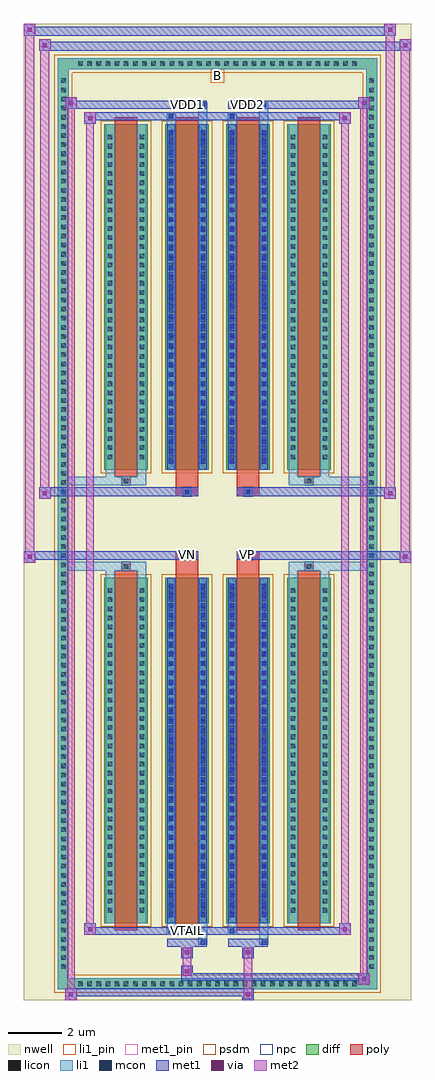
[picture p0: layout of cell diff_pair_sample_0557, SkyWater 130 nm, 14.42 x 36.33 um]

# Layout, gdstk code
import gdstk
lib = gdstk.Library(unit=1e-6, precision=5e-09)
def R(c, l, rs):  # rectangles x0, y0, x1, y1
    for r in rs: c.add(gdstk.rectangle(r[:2], r[2:], *l))
def A(c, l, x, y, w, h, nx, ny, dx, dy):  # array of equal rectangles
    R(c, l, [(x+i*dx, y+j*dy, x+i*dx+w, y+j*dy+h) for i in range(nx) for j in range(ny)])
def P(c, l, *ps):  # polygons
    for p in ps: c.add(gdstk.Polygon(p, *l))
nwell = (64, 20)
diff = (65, 20)
poly = (66, 20)
licon = (66, 44)
li1_pin = (67, 16)
li1 = (67, 20)
mcon = (67, 44)
met1_pin = (68, 16)
met1 = (68, 20)
via = (68, 44)
met2 = (69, 20)
psdm = (94, 20)
npc = (95, 20)

diff_pair_sample_0557 = lib.new_cell('diff_pair_sample_0557')
R(diff_pair_sample_0557, nwell, [(-7.21,-17.73,7.21,18.6), (-4.53,-15.92,-0.01,-0.82), (0.01,-15.92,4.53,-0.82), (-4.53,0.82,-0.01,15.92), (0.01,0.82,4.53,15.92)])
A(diff_pair_sample_0557, diff, -5.305, -17.33, 0.41, 0.41, 31, 2, 0.34, 34.25)
A(diff_pair_sample_0557, diff, -5.94, -16.695, 0.41, 0.41, 1, 98, 0, 0.34)
A(diff_pair_sample_0557, diff, 5.53, -16.695, 0.41, 0.41, 1, 98, 0, 0.34)
A(diff_pair_sample_0557, diff, -4.22, -14.875, 1.63, 12.87, 4, 2, 2.27, 16.88)
R(diff_pair_sample_0557, diff, [(-5.305,-17.33,5.305,-16.92), (-5.94,-16.695,-5.53,16.695), (5.53,-16.695,5.94,16.695), (-5.305,16.92,5.305,17.33)])
P(diff_pair_sample_0557, diff, [(5.94,17.33),(-5.94,17.33),(-5.94,-16.92),(-5.53,-16.92),(-5.53,16.92),(5.53,16.92),(5.53,-16.92),(-5.53,-16.92),(-5.94,-16.92),(-5.94,-17.33),(5.94,-17.33)])
A(diff_pair_sample_0557, poly, -3.83, -15.125, 0.85, 13.37, 4, 2, 2.27, 16.88)
R(diff_pair_sample_0557, poly, [(-3.57,-1.755,-3.24,-1.425), (-3.57,-1.755,-3.24,-1.425), (-1.56,-1.755,-0.71,-1.35), (0.71,-1.755,1.56,-1.35), (3.24,-1.755,3.57,-1.425), (3.24,-1.755,3.57,-1.425), (-1.56,-1.35,-0.71,-1.02), (-1.3,-1.35,-0.97,-1.02), (0.71,-1.35,1.56,-1.02), (0.97,-1.35,1.3,-1.02), (-1.56,1.02,-0.71,1.35), (-1.3,1.02,-0.97,1.35), (0.71,1.02,1.56,1.35), (0.97,1.02,1.3,1.35), (-1.56,1.35,-0.71,1.755), (0.71,1.35,1.56,1.755), (-3.57,1.425,-3.24,1.755), (-3.57,1.425,-3.24,1.755), (3.24,1.425,3.57,1.755), (3.24,1.425,3.57,1.755)])
A(diff_pair_sample_0557, licon, -5.185, -17.21, 0.17, 0.17, 31, 2, 0.34, 34.25)
A(diff_pair_sample_0557, licon, -5.82, -16.575, 0.17, 0.17, 1, 98, 0, 0.34)
A(diff_pair_sample_0557, licon, 5.65, -16.575, 0.17, 0.17, 1, 98, 0, 0.34)
A(diff_pair_sample_0557, licon, -4.08, -14.475, 0.17, 0.17, 1, 36, 0, 0.34)
A(diff_pair_sample_0557, licon, -2.9, -14.475, 0.17, 0.17, 1, 36, 0, 0.34)
A(diff_pair_sample_0557, licon, -1.81, -14.475, 0.17, 0.17, 1, 36, 0, 0.34)
A(diff_pair_sample_0557, licon, -0.63, -14.475, 0.17, 0.17, 1, 36, 0, 0.34)
A(diff_pair_sample_0557, licon, 0.46, -14.475, 0.17, 0.17, 1, 36, 0, 0.34)
A(diff_pair_sample_0557, licon, 1.64, -14.475, 0.17, 0.17, 1, 36, 0, 0.34)
A(diff_pair_sample_0557, licon, 2.73, -14.475, 0.17, 0.17, 1, 36, 0, 0.34)
A(diff_pair_sample_0557, licon, 3.91, -14.475, 0.17, 0.17, 1, 36, 0, 0.34)
A(diff_pair_sample_0557, licon, -4.08, 2.405, 0.17, 0.17, 1, 36, 0, 0.34)
A(diff_pair_sample_0557, licon, -2.9, 2.405, 0.17, 0.17, 1, 36, 0, 0.34)
A(diff_pair_sample_0557, licon, -1.81, 2.405, 0.17, 0.17, 1, 36, 0, 0.34)
A(diff_pair_sample_0557, licon, -0.63, 2.405, 0.17, 0.17, 1, 36, 0, 0.34)
A(diff_pair_sample_0557, licon, 0.46, 2.405, 0.17, 0.17, 1, 36, 0, 0.34)
A(diff_pair_sample_0557, licon, 1.64, 2.405, 0.17, 0.17, 1, 36, 0, 0.34)
A(diff_pair_sample_0557, licon, 2.73, 2.405, 0.17, 0.17, 1, 36, 0, 0.34)
A(diff_pair_sample_0557, licon, 3.91, 2.405, 0.17, 0.17, 1, 36, 0, 0.34)
R(diff_pair_sample_0557, licon, [(-3.49,-1.675,-3.32,-1.505), (3.32,-1.675,3.49,-1.505), (-1.22,-1.27,-1.05,-1.1), (1.05,-1.27,1.22,-1.1), (-1.22,1.1,-1.05,1.27), (1.05,1.1,1.22,1.27), (-3.49,1.505,-3.32,1.675), (3.32,1.505,3.49,1.675)])
R(diff_pair_sample_0557, li1_pin, [(-0.25,16.42,0.25,16.92)])
A(diff_pair_sample_0557, li1, -5.265, -17.29, 0.33, 0.33, 31, 2, 0.34, 34.25)
A(diff_pair_sample_0557, li1, -5.9, -16.655, 0.33, 0.33, 1, 98, 0, 0.34)
A(diff_pair_sample_0557, li1, 5.57, -16.655, 0.33, 0.33, 1, 98, 0, 0.34)
A(diff_pair_sample_0557, li1, -1.81, -14.645, 0.17, 0.17, 1, 35, 0, 0.36)
A(diff_pair_sample_0557, li1, -0.63, -14.645, 0.17, 0.17, 1, 35, 0, 0.36)
A(diff_pair_sample_0557, li1, 0.46, -14.645, 0.17, 0.17, 1, 35, 0, 0.36)
A(diff_pair_sample_0557, li1, 1.64, -14.645, 0.17, 0.17, 1, 35, 0, 0.36)
A(diff_pair_sample_0557, li1, -4.16, -14.555, 0.33, 0.33, 1, 36, 0, 0.34)
A(diff_pair_sample_0557, li1, -2.98, -14.555, 0.33, 0.33, 1, 36, 0, 0.34)
A(diff_pair_sample_0557, li1, -1.89, -14.555, 0.33, 0.33, 1, 36, 0, 0.34)
A(diff_pair_sample_0557, li1, -0.71, -14.555, 0.33, 0.33, 1, 36, 0, 0.34)
A(diff_pair_sample_0557, li1, 0.38, -14.555, 0.33, 0.33, 1, 36, 0, 0.34)
A(diff_pair_sample_0557, li1, 1.56, -14.555, 0.33, 0.33, 1, 36, 0, 0.34)
A(diff_pair_sample_0557, li1, 2.65, -14.555, 0.33, 0.33, 1, 36, 0, 0.34)
A(diff_pair_sample_0557, li1, 3.83, -14.555, 0.33, 0.33, 1, 36, 0, 0.34)
A(diff_pair_sample_0557, li1, -1.81, 2.235, 0.17, 0.17, 1, 35, 0, 0.36)
A(diff_pair_sample_0557, li1, -0.63, 2.235, 0.17, 0.17, 1, 35, 0, 0.36)
A(diff_pair_sample_0557, li1, 0.46, 2.235, 0.17, 0.17, 1, 35, 0, 0.36)
A(diff_pair_sample_0557, li1, 1.64, 2.235, 0.17, 0.17, 1, 35, 0, 0.36)
A(diff_pair_sample_0557, li1, -4.16, 2.325, 0.33, 0.33, 1, 36, 0, 0.34)
A(diff_pair_sample_0557, li1, -2.98, 2.325, 0.33, 0.33, 1, 36, 0, 0.34)
A(diff_pair_sample_0557, li1, -1.89, 2.325, 0.33, 0.33, 1, 36, 0, 0.34)
A(diff_pair_sample_0557, li1, -0.71, 2.325, 0.33, 0.33, 1, 36, 0, 0.34)
A(diff_pair_sample_0557, li1, 0.38, 2.325, 0.33, 0.33, 1, 36, 0, 0.34)
A(diff_pair_sample_0557, li1, 1.56, 2.325, 0.33, 0.33, 1, 36, 0, 0.34)
A(diff_pair_sample_0557, li1, 2.65, 2.325, 0.33, 0.33, 1, 36, 0, 0.34)
A(diff_pair_sample_0557, li1, 3.83, 2.325, 0.33, 0.33, 1, 36, 0, 0.34)
R(diff_pair_sample_0557, li1, [(-5.94,-17.33,-5.53,-16.92), (-5.94,-17.33,-5.53,-16.92), (-5.53,-17.33,5.53,-16.92), (5.53,-17.33,5.94,-16.92), (5.53,-17.33,5.94,-16.92), (-5.94,-16.92,-5.53,16.92), (5.53,-16.92,5.94,16.92), (-0.71,-15.68,-0.38,-14.875), (-0.63,-15.68,-0.46,-15.51), (1.56,-15.68,1.89,-14.875), (1.64,-15.68,1.81,-15.51), (-1.89,-15.25,-1.56,-14.875), (-1.81,-15.25,-1.64,-15.08), (0.38,-15.25,0.71,-14.875), (0.46,-15.25,0.63,-15.08), (-4.16,-14.875,-3.83,-2.005), (-2.98,-14.875,-2.65,-2.005), (-1.89,-14.875,-1.56,-2.005), (-0.71,-14.875,-0.38,-2.005), (0.38,-14.875,0.71,-2.005), (1.56,-14.875,1.89,-2.005), (2.65,-14.875,2.98,-2.005), (3.83,-14.875,4.16,-2.005), (-1.81,-14.645,-1.64,-2.235), (-0.63,-14.645,-0.46,-2.235), (0.46,-14.645,0.63,-2.235), (1.64,-14.645,1.81,-2.235), (-4.16,-2.005,-3.83,-1.425), (-2.98,-2.005,-2.65,-1.425), (2.65,-2.005,2.98,-1.425), (3.83,-2.005,4.16,-1.425), (-5.94,-1.755,-3.57,-1.425), (-4.16,-1.755,-3.57,-1.425), (-3.57,-1.755,-3.24,-1.425), (-3.24,-1.755,-2.65,-1.425), (2.65,-1.755,3.24,-1.425), (3.24,-1.755,3.57,-1.425), (3.24,-1.755,5.94,-1.425), (3.57,-1.755,4.16,-1.425), (-1.3,-1.35,-0.97,-1.02), (0.97,-1.35,1.3,-1.02), (-1.3,1.02,-0.97,1.35), (0.97,1.02,1.3,1.35), (-5.94,1.425,-3.57,1.755), (-4.16,1.425,-3.57,1.755), (-4.16,1.425,-3.83,2.005), (-3.57,1.425,-3.24,1.755), (-3.24,1.425,-2.65,1.755), (-2.98,1.425,-2.65,2.005), (2.65,1.425,3.24,1.755), (2.65,1.425,2.98,2.005), (3.24,1.425,3.57,1.755), (3.24,1.425,5.94,1.755), (3.57,1.425,4.16,1.755), (3.83,1.425,4.16,2.005), (-4.16,2.005,-3.83,14.875), (-2.98,2.005,-2.65,14.875), (-1.89,2.005,-1.56,14.875), (-0.71,2.005,-0.38,14.875), (0.38,2.005,0.71,14.875), (1.56,2.005,1.89,14.875), (2.65,2.005,2.98,14.875), (3.83,2.005,4.16,14.875), (-1.81,2.235,-1.64,14.645), (-0.63,2.235,-0.46,14.645), (0.46,2.235,0.63,14.645), (1.64,2.235,1.81,14.645), (-1.89,14.875,-1.56,15.25), (-0.71,14.875,-0.38,15.68), (0.38,14.875,0.71,15.25), (1.56,14.875,1.89,15.68), (-1.81,15.08,-1.64,15.25), (0.46,15.08,0.63,15.25), (-0.63,15.51,-0.46,15.68), (1.64,15.51,1.81,15.68), (-5.94,16.92,-5.53,17.33), (-5.94,16.92,-5.53,17.33), (-5.53,16.92,5.53,17.33), (5.53,16.92,5.94,17.33), (5.53,16.92,5.94,17.33)])
A(diff_pair_sample_0557, mcon, -1.81, -14.645, 0.17, 0.17, 1, 35, 0, 0.36)
A(diff_pair_sample_0557, mcon, -0.63, -14.645, 0.17, 0.17, 1, 35, 0, 0.36)
A(diff_pair_sample_0557, mcon, 0.46, -14.645, 0.17, 0.17, 1, 35, 0, 0.36)
A(diff_pair_sample_0557, mcon, 1.64, -14.645, 0.17, 0.17, 1, 35, 0, 0.36)
A(diff_pair_sample_0557, mcon, -1.81, 2.235, 0.17, 0.17, 1, 35, 0, 0.36)
A(diff_pair_sample_0557, mcon, -0.63, 2.235, 0.17, 0.17, 1, 35, 0, 0.36)
A(diff_pair_sample_0557, mcon, 0.46, 2.235, 0.17, 0.17, 1, 35, 0, 0.36)
A(diff_pair_sample_0557, mcon, 1.64, 2.235, 0.17, 0.17, 1, 35, 0, 0.36)
R(diff_pair_sample_0557, mcon, [(-0.63,-15.68,-0.46,-15.51), (1.64,-15.68,1.81,-15.51), (-1.81,-15.25,-1.64,-15.08), (0.46,-15.25,0.63,-15.08), (-1.22,-1.27,-1.05,-1.1), (1.05,-1.27,1.22,-1.1), (-1.22,1.1,-1.05,1.27), (1.05,1.1,1.22,1.27), (-1.81,15.08,-1.64,15.25), (0.46,15.08,0.63,15.25), (-0.63,15.51,-0.46,15.68), (1.64,15.51,1.81,15.68)])
R(diff_pair_sample_0557, met1_pin, [(-1.27,-15.29,-1,-15.02), (-1.27,-1.29,-1,-1.02), (1,-1.29,1.27,-1.02), (-1.27,15.47,-1,15.74), (1,15.47,1.27,15.74)])
A(diff_pair_sample_0557, met1, -1.87, -14.705, 0.29, 0.29, 1, 35, 0, 0.36)
A(diff_pair_sample_0557, met1, -0.69, -14.705, 0.29, 0.29, 1, 35, 0, 0.36)
A(diff_pair_sample_0557, met1, 0.4, -14.705, 0.29, 0.29, 1, 35, 0, 0.36)
A(diff_pair_sample_0557, met1, 1.58, -14.705, 0.29, 0.29, 1, 35, 0, 0.36)
A(diff_pair_sample_0557, met1, -1.87, 2.175, 0.29, 0.29, 1, 35, 0, 0.36)
A(diff_pair_sample_0557, met1, -0.69, 2.175, 0.29, 0.29, 1, 35, 0, 0.36)
A(diff_pair_sample_0557, met1, 0.4, 2.175, 0.29, 0.29, 1, 35, 0, 0.36)
A(diff_pair_sample_0557, met1, 1.58, 2.175, 0.29, 0.29, 1, 35, 0, 0.36)
R(diff_pair_sample_0557, met1, [(-5.67,-17.73,-5.24,-17.3), (0.92,-17.73,1.35,-17.3), (-5.67,-17.59,1.35,-17.3), (5.24,-17.16,5.67,-16.73), (-1.35,-17.02,5.67,-16.73), (-1.35,-16.88,-0.92,-16.45), (-1.35,-16.17,-0.92,-15.74), (0.92,-16.17,1.35,-15.74), (-1.87,-15.74,-0.4,-15.45), (-0.69,-15.74,-0.4,-15.45), (0.4,-15.74,1.87,-15.45), (1.58,-15.74,1.87,-15.45), (-4.96,-15.31,-4.53,-14.88), (-4.96,-15.31,-1.87,-15.02), (-1.87,-15.31,-1.58,-15.02), (-1.87,-15.31,-0.4,-15.02), (-0.4,-15.31,0.4,-15.02), (0.4,-15.31,0.69,-15.02), (0.4,-15.31,1.87,-15.02), (1.87,-15.31,4.96,-15.02), (4.53,-15.31,4.96,-14.88), (-1.87,-14.875,-1.58,-2.005), (-0.69,-14.875,-0.4,-2.005), (0.4,-14.875,0.69,-2.005), (1.58,-14.875,1.87,-2.005), (-7.21,-1.45,-6.78,-1.02), (6.78,-1.45,7.21,-1.02), (-7.21,-1.35,-0.71,-1.02), (-1.56,-1.35,-0.71,-1.02), (0.71,-1.35,1.56,-1.02), (0.71,-1.35,7.21,-1.02), (-1.28,-1.33,-0.99,-1.04), (0.99,-1.33,1.28,-1.04), (-6.64,0.92,-6.21,1.35), (6.21,0.92,6.64,1.35), (-6.64,1.02,-1.56,1.35), (-1.56,1.02,-0.71,1.35), (0.71,1.02,1.56,1.35), (1.56,1.02,6.64,1.35), (-1.28,1.04,-0.99,1.33), (0.99,1.04,1.28,1.33), (-1.87,2.005,-1.58,14.875), (-0.69,2.005,-0.4,14.875), (0.4,2.005,0.69,14.875), (1.58,2.005,1.87,14.875), (-4.96,14.88,-4.53,15.31), (4.53,14.88,4.96,15.31), (-4.96,15.02,-1.87,15.31), (-1.87,15.02,-1.58,15.31), (-1.87,15.02,-0.4,15.31), (-0.4,15.02,0.4,15.31), (0.4,15.02,0.69,15.31), (0.4,15.02,1.87,15.31), (1.87,15.02,4.96,15.31), (-5.67,15.45,-5.24,15.88), (-5.67,15.45,-1.87,15.74), (-1.87,15.45,-0.4,15.74), (-0.69,15.45,-0.4,15.74), (0.4,15.45,1.87,15.74), (1.58,15.45,1.87,15.74), (1.87,15.45,5.67,15.74), (5.24,15.45,5.67,15.88), (-6.64,17.6,-6.21,18.03), (-6.64,17.6,-4.53,17.93), (-4.53,17.6,4.53,17.93), (4.53,17.6,7.21,17.93), (6.78,17.6,7.21,18.03), (-7.21,18.17,-6.78,18.6), (-7.21,18.17,-4.53,18.5), (-4.53,18.17,4.53,18.5), (4.53,18.17,6.64,18.5), (6.21,18.17,6.64,18.6)])
R(diff_pair_sample_0557, via, [(-5.53,-17.59,-5.38,-17.44), (1.06,-17.59,1.21,-17.44), (5.38,-17.02,5.53,-16.87), (-1.21,-16.74,-1.06,-16.59), (-1.21,-16.03,-1.06,-15.88), (1.06,-16.03,1.21,-15.88), (-4.82,-15.17,-4.67,-15.02), (4.67,-15.17,4.82,-15.02), (-7.07,-1.31,-6.92,-1.16), (6.92,-1.31,7.07,-1.16), (-6.5,1.06,-6.35,1.21), (6.35,1.06,6.5,1.21), (-4.82,15.02,-4.67,15.17), (4.67,15.02,4.82,15.17), (-5.53,15.59,-5.38,15.74), (5.38,15.59,5.53,15.74), (-6.5,17.74,-6.35,17.89), (6.92,17.74,7.07,17.89), (-7.07,18.31,-6.92,18.46), (6.35,18.31,6.5,18.46)])
R(diff_pair_sample_0557, met2, [(-5.67,-17.73,-5.24,-17.3), (-5.6,-17.73,-5.31,15.88), (-5.31,-17.73,-5.24,-17.3), (-5.62,-17.68,-5.29,-17.35), (0.97,-17.68,1.3,-17.35), (0.97,-17.35,1.3,-16.12), (5.24,-17.16,5.67,-16.73), (5.31,-17.16,5.6,15.88), (5.6,-17.16,5.67,-16.73), (5.29,-17.11,5.62,-16.78), (-1.3,-16.83,-0.97,-16.5), (-1.3,-16.5,-0.97,-16.12), (-1.3,-16.12,-0.97,-15.79), (0.97,-16.12,1.3,-15.79), (-4.96,-15.31,-4.53,-14.88), (-4.89,-15.31,-4.6,15.31), (-4.6,-15.31,-4.53,-14.88), (4.53,-15.31,4.96,-14.88), (4.6,-15.31,4.89,15.31), (4.89,-15.31,4.96,-14.88), (-4.91,-15.26,-4.58,-14.93), (4.58,-15.26,4.91,-14.93), (-7.21,-1.45,-6.78,-1.02), (-7.16,-1.45,-6.83,18.6), (-6.83,-1.45,-6.78,-1.02), (6.78,-1.45,7.21,-1.02), (6.83,-1.45,7.16,18.03), (7.16,-1.45,7.21,-1.02), (-7.16,-1.4,-6.83,-1.07), (6.83,-1.4,7.16,-1.07), (-6.64,0.92,-6.21,1.35), (-6.59,0.92,-6.26,18.03), (-6.26,0.92,-6.21,1.35), (6.21,0.92,6.64,1.35), (6.26,0.92,6.59,18.6), (6.59,0.92,6.64,1.35), (-6.59,0.97,-6.26,1.3), (6.26,0.97,6.59,1.3), (-4.96,14.88,-4.53,15.31), (-4.6,14.88,-4.53,15.31), (4.53,14.88,4.96,15.31), (4.89,14.88,4.96,15.31), (-4.91,14.93,-4.58,15.26), (4.58,14.93,4.91,15.26), (-5.67,15.45,-5.24,15.88), (-5.31,15.45,-5.24,15.88), (5.24,15.45,5.67,15.88), (5.6,15.45,5.67,15.88), (-5.62,15.5,-5.29,15.83), (5.29,15.5,5.62,15.83), (-6.64,17.6,-6.21,18.03), (-6.26,17.6,-6.21,18.03), (6.78,17.6,7.21,18.03), (7.16,17.6,7.21,18.03), (-6.59,17.65,-6.26,17.98), (6.83,17.65,7.16,17.98), (-7.21,18.17,-6.78,18.6), (-6.83,18.17,-6.78,18.6), (6.21,18.17,6.64,18.6), (6.59,18.17,6.64,18.6), (-7.16,18.22,-6.83,18.55), (6.26,18.22,6.59,18.55)])
A(diff_pair_sample_0557, psdm, -4.35, -15.005, 1.89, 13.13, 4, 2, 2.27, 16.88)
P(diff_pair_sample_0557, psdm, [(6.07,17.46),(-6.07,17.46),(-6.07,-16.79),(-5.4,-16.79),(-5.4,16.79),(5.4,16.79),(5.4,-16.79),(-5.4,-16.79),(-6.07,-16.79),(-6.07,-17.46),(6.07,-17.46)])
R(diff_pair_sample_0557, npc, [(-3.59,-1.775,-3.22,-1.405), (3.22,-1.775,3.59,-1.405), (-1.32,-1.37,-0.95,-1), (0.95,-1.37,1.32,-1), (-1.32,1,-0.95,1.37), (0.95,1,1.32,1.37), (-3.59,1.405,-3.22,1.775), (3.22,1.405,3.59,1.775)])
diff_pair_sample_0557.add(gdstk.Label('VTAIL', (-1.135,-15.155), layer=68, texttype=5))
diff_pair_sample_0557.add(gdstk.Label('VN', (-1.135,-1.155), layer=68, texttype=5))
diff_pair_sample_0557.add(gdstk.Label('VP', (1.135,-1.155), layer=68, texttype=5))
diff_pair_sample_0557.add(gdstk.Label('B', (0,16.67), layer=67, texttype=5))
diff_pair_sample_0557.add(gdstk.Label('VDD2', (1.135,15.605), layer=68, texttype=5))
diff_pair_sample_0557.add(gdstk.Label('VDD1', (-1.135,15.605), layer=68, texttype=5))

lib.write_gds('diff_pair_sample_0557.gds')
